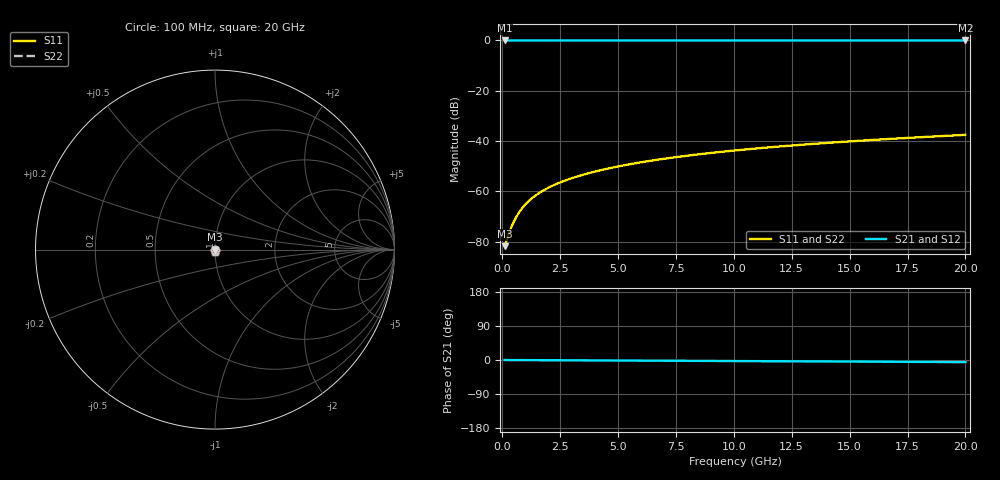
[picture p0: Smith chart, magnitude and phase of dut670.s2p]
! Touchstone file exported from HFSS 2026.1.0
!  File:  C:/ffzhzh/LocalFiles/Ansys_Project_Files/temp_train_TSV_670_1783027177_4048.aedt
!  Generated:  05:21:06 AM Jul  3, 2026
!  Design:  TSV
!  Project:  temp_train_TSV_670_1783027177_4048
! Variables:
!  h_bsmrdl = 2um
!  h_ox = 20um
!  h_rdl = 5um
!  h_sub = 52.57um
!  h_tmrdl = 5um
!  h_tsv = 52.57um
!  h_via = 3um
!  l_bsmrdl = 300um
!  l_sub = 424.52um
!  l_tmrdl = 200um
!  m_sub = 200um
!  pitch = 42.73um
!  r_tsv = 12.26um
!  s_tmrdl = 10um
!  w_bsmrdl = 18um
!  w_sub = 500um
!  w_tmrdl = 12um
!  x_tsv_center1 = 206um
!  x_tsv_center2 = 524um
!  x_tsv_center3 = 736um
!  x_tsv_center4 = 1054um
!  x_tsv_center5 = 1266um
!  x_tsv_center6 = 1584um
# GHz S MA R 50.000000
! Terminal data exported
! Port[1] = TSV1_1_T1
! Port[2] = TSV1_1_T2
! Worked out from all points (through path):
!   200 points, 100 MHz to 20 GHz, reference 50 ohm
!   highest |S21| = 0.00 dB at 100 MHz (marker M1); lowest = 0.0 dB at 20 GHz (marker M2)
!   lowest |S11| = -81.8 dB at 100 MHz (marker M3), VSWR 1.00, Z = 50 - j0.00358 ohm
!   |S11| at or under -10 dB: start of sweep to end of sweep
!   |S22| runs from -81.8 to -37.6 dB; largest |S21 - S12| = 1.2e-15
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0.1  8.086e-05 -26.3  0.9999 -0.0  0.9999 -0.0  8.086e-05 -26.3
! Gamma 0 0 0 0
! Port Impedance 50 0 50 0
0.2  0.0001102 -42.1  0.9999 -0.1  0.9999 -0.1  0.0001102 -42.1
0.3  0.0001501 -50.6  0.9999 -0.1  0.9999 -0.1  0.0001501 -50.6
0.4  0.0001972 -55.7  0.9999 -0.1  0.9999 -0.1  0.0001972 -55.7
0.5  0.0002494 -59.1  0.9999 -0.1  0.9999 -0.1  0.0002494 -59.1
0.6  0.0003054 -61.8  0.9999 -0.2  0.9999 -0.2  0.0003054 -61.8
0.7  0.000364 -64.0  0.9998 -0.2  0.9998 -0.2  0.000364 -64.0
0.9  0.000486 -67.6  0.9998 -0.3  0.9998 -0.3  0.000486 -67.6
1.2  0.0006742 -71.5  0.9998 -0.3  0.9998 -0.3  0.0006742 -71.5
1.4  0.0008008 -73.4  0.9998 -0.4  0.9998 -0.4  0.0008008 -73.4
1.6  0.0009276 -75.0  0.9998 -0.5  0.9998 -0.5  0.0009276 -75.0
2.1  0.001245 -77.8  0.9997 -0.6  0.9997 -0.6  0.001245 -77.8
2.7  0.001627 -79.9  0.9997 -0.8  0.9997 -0.8  0.001627 -79.9
3.5  0.00214 -81.8  0.9997 -1.0  0.9997 -1.0  0.00214 -81.8
4.2  0.002593 -82.9  0.9996 -1.2  0.9996 -1.2  0.002593 -82.9
5  0.003116 -83.8  0.9996 -1.4  0.9996 -1.4  0.003116 -83.8
6.8  0.004307 -85.5  0.9995 -1.9  0.9995 -1.9  0.004307 -85.5
8.3  0.005309 -86.5  0.9995 -2.3  0.9995 -2.3  0.005309 -86.5
10.1  0.006518 -87.6  0.9994 -2.8  0.9994 -2.8  0.006518 -87.6
13.4  0.008745 -89.3  0.9993 -3.7  0.9993 -3.7  0.008745 -89.3
16.7  0.01098 -90.7  0.9992 -4.6  0.9992 -4.6  0.01098 -90.7
20  0.01323 -92.0  0.9991 -5.6  0.9991 -5.6  0.01323 -91.9
